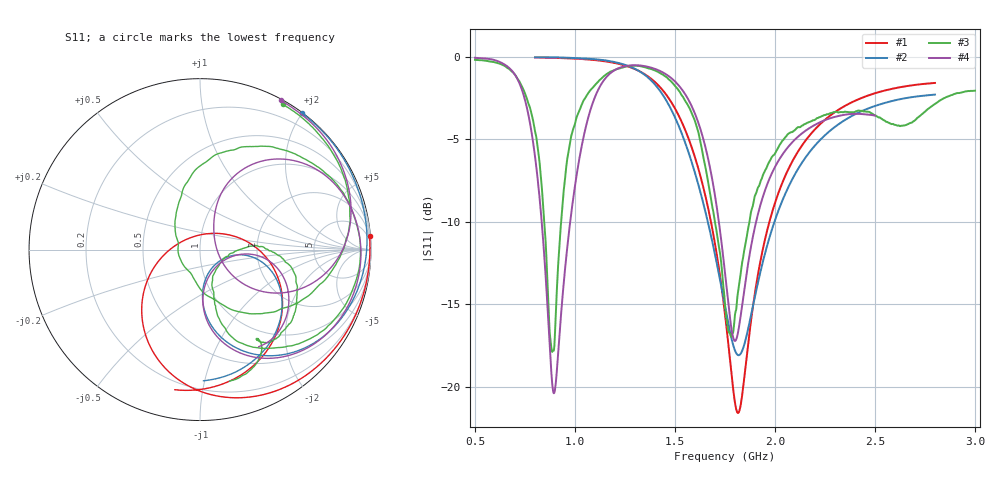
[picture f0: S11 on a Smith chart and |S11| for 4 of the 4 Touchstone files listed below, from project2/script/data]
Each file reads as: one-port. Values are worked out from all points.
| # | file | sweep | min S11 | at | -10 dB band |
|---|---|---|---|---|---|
| 1 | lambda_tenth_sparam_simulation.S1P | 800 MHz to 2.8 GHz | -21.6 dB | 1.814 GHz | 292.2 MHz wide |
| 2 | lambda_twentieth_sparam_simulation.S1P | 800 MHz to 2.8 GHz | -18.1 dB | 1.818 GHz | 333 MHz wide |
| 3 | pifa_sparam_measurement.S1P | 500 MHz to 3 GHz | -17.9 dB | 885.9 MHz | 172.7 MHz wide |
| 4 | pifa_sparam_simulation.S1P | 500 MHz to 2.5 GHz | -20.4 dB | 894 MHz | 186.1 MHz wide |
